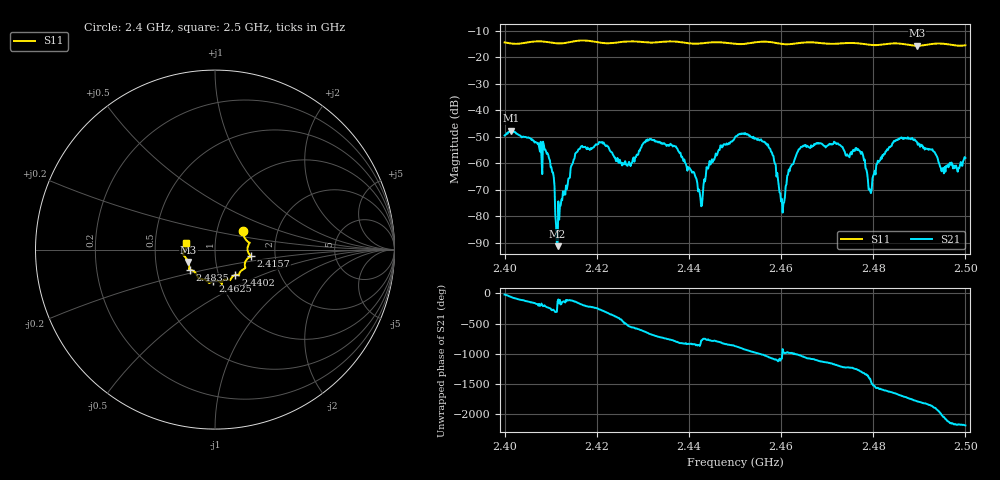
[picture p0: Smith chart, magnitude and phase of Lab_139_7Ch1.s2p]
# Hz S RI R 50
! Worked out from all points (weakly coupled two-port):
!   601 points, 2.4 GHz to 2.5 GHz, reference 50 ohm
!   highest |S21| = -47.78 dB at 2.4013 GHz (marker M1); lowest = -91.2 dB at 2.4115 GHz (marker M2)
!   lowest |S11| = -15.7 dB at 2.4895 GHz (marker M3), VSWR 1.39, Z = 36.8 - j5.17 ohm
!   |S11| at or under -10 dB: start of sweep to end of sweep
!   S12 and S22 are empty: the file has one direction only
!   S11 on the Smith chart (normalised r, x): 2.4 GHz: 1.33, +0.29; 2.4157 GHz: 1.49, -0.11; 2.4402 GHz: 1.20, -0.35; 2.4625 GHz: 0.92, -0.34; 2.4835 GHz: 0.74, -0.17; 2.5 GHz: 0.72, +0.05
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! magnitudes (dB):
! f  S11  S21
! 2.4 GHz  -14.5  -49.5
! 2.4013 GHz  -14.9  -47.8
! 2.4088 GHz  -14.2  -54.9
! 2.4115 GHz  -14.8  -91.2
! 2.4157 GHz  -13.9  -55.8
! 2.4167 GHz  -13.7  -53.6
! 2.4268 GHz  -14.1  -60.3
! 2.4333 GHz  -14.4  -52.2
! 2.4402 GHz  -14.8  -61.8
! 2.4425 GHz  -14.9  -73.1
! 2.45 GHz  -15.0  -50.2
! 2.4572 GHz  -14.2  -52.9
! 2.4603 GHz  -15.1  -78.6
! 2.4625 GHz  -15.0  -60.4
! 2.4667 GHz  -14.5  -53.8
! 2.4767 GHz  -14.8  -54.6
! 2.4793 GHz  -15.4  -70.4
! 2.4833 GHz  -15.0  -54.4
! 2.4835 GHz  -15.0  -53.8
! 2.4895 GHz  -15.7  -52.0
! 2.4952 GHz  -15.0  -61.8
! 2.5 GHz  -15.5  -58.0
